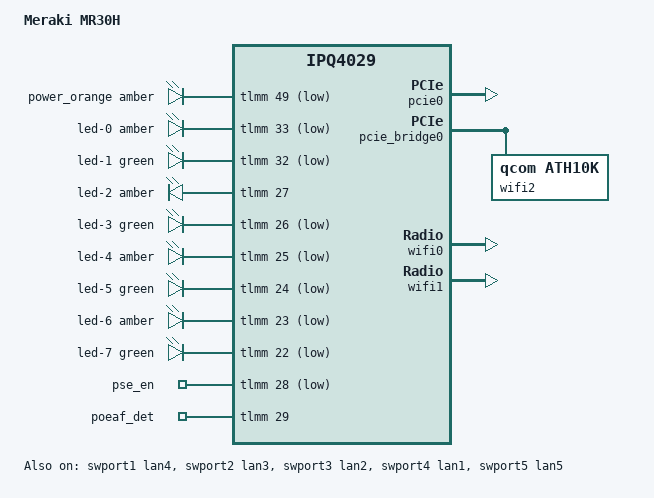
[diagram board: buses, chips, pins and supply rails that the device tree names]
// SPDX-License-Identifier: GPL-2.0-only
// Device Tree Source for Meraki MR30H (Noisy Cricket)

#include "qcom-ipq4029-meraki-insect.dtsi"

/ {
	model = "Meraki MR30H";
	compatible = "meraki,mr30h";

	leds {
		compatible = "gpio-leds";

		power_orange: power {
			color = <LED_COLOR_ID_AMBER>;
			function = LED_FUNCTION_POWER;
			gpios = <&tlmm 49 GPIO_ACTIVE_LOW>;
			panic-indicator;
		};

		led-0 {
			/* LAN 1 act */
			color = <LED_COLOR_ID_AMBER>;
			function = LED_FUNCTION_ACTIVITY;
			gpios = <&tlmm 33 GPIO_ACTIVE_LOW>;
		};

		led-1 {
			color = <LED_COLOR_ID_GREEN>;
			function = LED_FUNCTION_LAN;
			function-enumerator = <1>;
			gpios = <&tlmm 32 GPIO_ACTIVE_LOW>;
		};

		led-2 {
			/* LAN 2 act */
			color = <LED_COLOR_ID_AMBER>;
			function = LED_FUNCTION_ACTIVITY;
			gpios = <&tlmm 27 GPIO_ACTIVE_HIGH>;
		};

		led-3 {
			color = <LED_COLOR_ID_GREEN>;
			function = LED_FUNCTION_LAN;
			function-enumerator = <2>;
			gpios = <&tlmm 26 GPIO_ACTIVE_LOW>;
		};

		led-4 {
			/* LAN 3 act */
			color = <LED_COLOR_ID_AMBER>;
			function = LED_FUNCTION_ACTIVITY;
			gpios = <&tlmm 25 GPIO_ACTIVE_LOW>;
		};

		led-5 {
			color = <LED_COLOR_ID_GREEN>;
			function = LED_FUNCTION_LAN;
			function-enumerator = <3>;
			gpios = <&tlmm 24 GPIO_ACTIVE_LOW>;
		};

		led-6 {
			/* LAN 4 act */
			color = <LED_COLOR_ID_AMBER>;
			function = LED_FUNCTION_ACTIVITY;
			gpios = <&tlmm 23 GPIO_ACTIVE_LOW>;
		};

		led-7 {
			color = <LED_COLOR_ID_GREEN>;
			function = LED_FUNCTION_LAN;
			function-enumerator = <4>;
			gpios = <&tlmm 22 GPIO_ACTIVE_LOW>;
		};
	};

	soc {
		ess_tcsr@1953000 {
			qcom,ess-interface-select = <TCSR_ESS_PSGMII>;
		};
	};

        gpio_export {
                compatible = "gpio-export";
                #size-cells = <0>;

                pse_en {
                        gpio-export,name = "pse_en";
                        gpio-export,output = <1>;
                        gpios = <&tlmm 28 GPIO_ACTIVE_LOW>;
                };

                poeaf_det {
                        gpio-export,name = "poeaf_det";
                        gpio-export,input = <0>;
                        gpios = <&tlmm 29 GPIO_ACTIVE_HIGH>;
                };

        };
};

&tricolor {
	enable-gpio = <&tlmm 48 GPIO_ACTIVE_HIGH>;
};

&pcie0 {
	status = "okay";
	perst-gpio = <&tlmm 38 GPIO_ACTIVE_LOW>;
	wake-gpio = <&tlmm 50 GPIO_ACTIVE_LOW>;
};

&pcie_bridge0 {
	wifi2: wifi@0,0 {
		compatible = "qcom,ath10k";
		reg = <0x00010000 0 0 0 0>;
		nvmem-cells = <&cal_factory_9000>;
		nvmem-cell-names = "calibration";
	};
};

&wifi0 {
	status = "okay";
	qcom,ath10k-calibration-variant = "Meraki-MR30H";
};

&wifi1 {
	status = "okay";
	qcom,ath10k-calibration-variant = "Meraki-MR30H";
};

&swport1 {
	label = "lan4";
	status = "okay";
};

&swport2 {
	label = "lan3";
	status = "okay";
};

&swport3 {
	label = "lan2";
	status = "okay";
};

&swport4 {
	label = "lan1";
	status = "okay";
};

&swport5 {
	label = "lan5";
	status = "okay";
};
